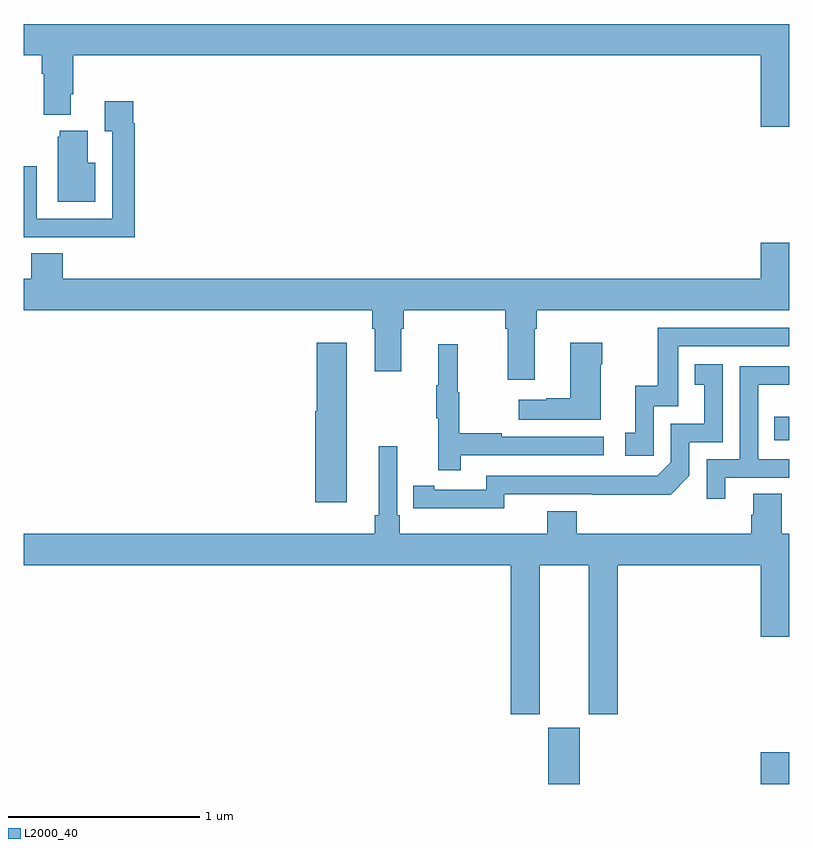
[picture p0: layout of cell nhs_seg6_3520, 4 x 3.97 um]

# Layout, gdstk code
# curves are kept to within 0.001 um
import gdstk
lib = gdstk.Library(unit=1e-6, precision=1e-09)
def R(c, l, rs):  # rectangles x0, y0, x1, y1
    for r in rs: c.add(gdstk.rectangle(r[:2], r[2:], *l))
def P(c, l, *ps):  # polygons
    for p in ps: c.add(gdstk.Polygon(p, *l))
L2000_40 = (2000, 40)

nhs_seg6_3520 = lib.new_cell('nhs_seg6_3520')
R(nhs_seg6_3520, L2000_40, [(319.742,971.5,319.906,971.793), (320.852,971.5,321,971.665), (320.923,973.296,321,973.419)])
P(nhs_seg6_3520, L2000_40, [(321,975.472),(317,975.472),(317,975.308),(317.093,975.308),(317.093,975.212),(317.105,975.212),(317.105,974.999),(317.245,974.999),(317.245,975.106),(317.258,975.106),(317.258,975.308),(320.852,975.308),(320.852,974.934),(321,974.934)],
  [(317.579,974.954),(317.572,974.954),(317.572,975.067),(317.423,975.067),(317.423,974.911),(317.463,974.911),(317.463,974.454),(317.067,974.454),(317.067,974.728),(317,974.728),(317,974.358),(317.287,974.358),(317.287,974.357),(317.579,974.357)],
  [(317.374,974.746),(317.335,974.746),(317.335,974.914),(317.189,974.914),(317.189,974.883),(317.177,974.883),(317.177,974.543),(317.374,974.543)],
  [(319.669,973.88),(319.682,973.88),(319.682,973.976),(321,973.976),(321,974.329),(320.852,974.329),(320.852,974.14),(317.204,974.14),(317.204,974.273),(317.039,974.273),(317.039,974.14),(317,974.14),(317,973.976),(318.821,973.976),(318.821,973.88),(318.833,973.88),(318.833,973.656),(318.973,973.656),(318.973,973.88),(318.986,973.88),(318.986,973.976),(319.517,973.976),(319.517,973.88),(319.529,973.88),(319.529,973.614),(319.669,973.614)],
  [(320.292,973.473),(320.421,973.473),(320.421,973.788),(321,973.788),(321,973.884),(320.313,973.884),(320.313,973.582),(320.195,973.582),(320.195,973.335),(320.142,973.335),(320.142,973.215),(320.292,973.215)],
  [(320.014,973.694),(320.022,973.694),(320.022,973.807),(319.856,973.807),(319.856,973.517),(319.73,973.517),(319.73,973.507),(319.587,973.507),(319.587,973.403),(320.014,973.403)],
  [(318.688,973.807),(318.53,973.807),(318.53,973.449),(318.524,973.449),(318.524,972.972),(318.688,972.972)],
  [(319.283,973.218),(320.032,973.218),(320.032,973.314),(319.499,973.314),(319.499,973.334),(319.276,973.334),(319.276,973.548),(319.268,973.548),(319.268,973.798),(319.166,973.798),(319.166,973.585),(319.155,973.585),(319.155,973.411),(319.166,973.411),(319.166,973.14),(319.283,973.14)],
  [(319.512,973.014),(320.38,973.013),(320.478,973.11),(320.478,973.287),(320.652,973.287),(320.652,973.693),(320.506,973.693),(320.506,973.587),(320.555,973.587),(320.555,973.383),(320.382,973.383),(320.382,973.182),(320.31,973.11),(319.416,973.11),(319.416,973.038),(319.144,973.038),(319.144,973.058),(319.036,973.058),(319.036,972.942),(319.512,972.941)],
  [(320.665,973.101),(321,973.101),(321,973.197),(320.838,973.197),(320.838,973.586),(321,973.586),(321,973.683),(320.742,973.683),(320.742,973.197),(320.568,973.197),(320.568,972.99),(320.665,972.99)],
  [(319.696,972.644),(319.952,972.644),(319.952,971.865),(320.105,971.865),(320.105,972.644),(320.852,972.644),(320.852,972.27),(321,972.27),(321,972.808),(320.961,972.808),(320.961,973.016),(320.813,973.016),(320.813,972.906),(320.801,972.906),(320.801,972.808),(319.889,972.808),(319.889,972.925),(319.736,972.925),(319.736,972.808),(318.965,972.808),(318.965,972.904),(318.951,972.904),(318.951,973.264),(318.854,973.264),(318.854,972.904),(318.835,972.904),(318.835,972.808),(317,972.808),(317,972.644),(319.544,972.644),(319.544,971.865),(319.696,971.865)])

lib.write_gds('nhs_seg6_3520.gds')
